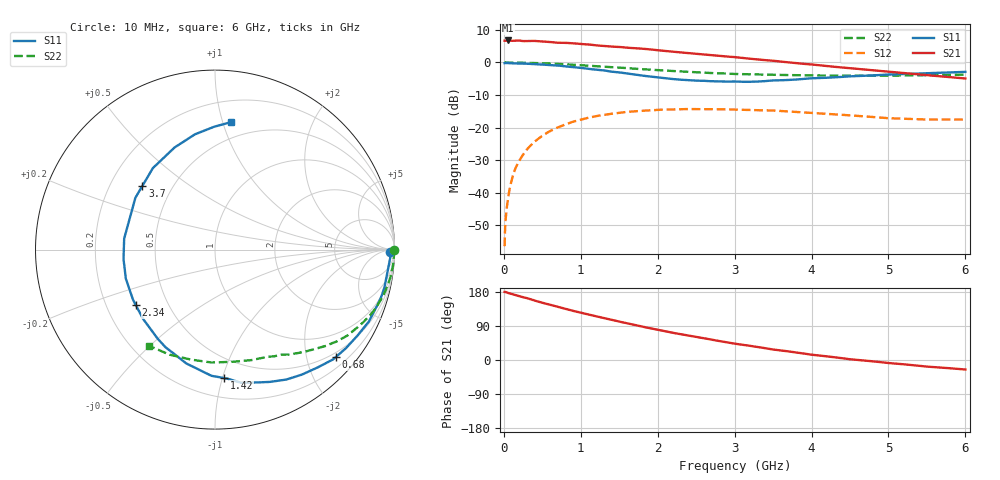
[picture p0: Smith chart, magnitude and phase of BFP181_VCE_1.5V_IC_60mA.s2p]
! Infineon Technologies  Discrete & RF Semiconductors
! BFP181
! VCE = 1.5 V,  IC =  60 mA
! Common Emitter S-Parameters:  Jan 2016
# GHz  S  MA  R  50
!  f  S11  S21  S12  S22
! GHz  MAG  ANG  MAG  ANG  MAG  ANG  MAG  ANG
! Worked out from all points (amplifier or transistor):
!   210 points, 10 MHz to 6 GHz, reference 50 ohm
!   highest |S21| = 6.8 dB at 50 MHz (marker M1)
!   |S21| within 3 dB of that: start of sweep to 1.998 GHz
!   unconditionally stable (mu >= 1): 3.541 GHz to end of sweep
!   at 185 MHz: K = 0.07, MSG = 18.8 dB, |S12| = -30.9 dB
!   at 1.52 GHz: K = 0.48, MSG = 10.1 dB, |S12| = -15.4 dB
!   at 6 GHz: K = 1.45, MAG = 2.3 dB, |S12| = -17.6 dB
!   S11 on the Smith chart (normalised r, x): 10 MHz: 60, -33; 680 MHz: 0.40, -2.57; 1.42 GHz: 0.34, -1.01; 2.34 GHz: 0.33, -0.29; 3.7 GHz: 0.34, +0.34; 6 GHz: 0.37, +1.07
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0.01  0.9748 -0.8  2.159 179.7  0.0015 87.4  0.9998 -0.2
0.015  0.9782 -1.1  2.157 179.7  0.0025 84.7  0.9998 -0.4
0.02  0.9816 -1.3  2.156 179.6  0.0035 83.6  0.9999 -0.6
0.05  0.9769 -2.8  2.178 177.2  0.0074 90.0  0.9976 -1.5
0.085  0.972 -5.2  2.156 175.2  0.0129 86.2  0.9972 -2.5
0.125  0.9683 -7.9  2.151 172.9  0.0193 83.8  0.9966 -3.7
0.24  0.9642 -15.0  2.137 166.2  0.0367 79.7  0.9911 -7.3
0.4  0.9465 -25.0  2.143 156.8  0.0606 72.7  0.9818 -11.9
0.68  0.9007 -41.7  2.019 141.6  0.0978 60.9  0.9525 -19.9
0.9  0.8481 -55.2  1.977 129.7  0.1228 52.2  0.923 -25.6
1.02  0.8197 -62.4  1.915 123.9  0.1338 47.7  0.9043 -28.6
1.42  0.7174 -86.0  1.749 105.2  0.1639 34.1  0.8448 -37.6
1.7  0.654 -104.2  1.662 92.6  0.177 26.2  0.8009 -42.9
2.02  0.5854 -124.1  1.532 79.0  0.1873 18.3  0.7602 -48.2
2.34  0.5389 -144.8  1.412 66.7  0.1915 10.5  0.7233 -53.6
2.8  0.5124 -174.1  1.26 50.0  0.1914 1.6  0.6819 -60.6
3.1  0.505 167.8  1.173 40.3  0.1872 -3.4  0.6611 -65.3
3.7  0.5383 138.7  1.003 22.7  0.1765 -11.0  0.6399 -75.4
4.1  0.5756 124.0  0.905 11.9  0.1651 -15.0  0.6302 -83.3
4.5  0.6119 111.6  0.816 2.0  0.1538 -17.9  0.6295 -91.6
5.1  0.6569 97.9  0.702 -9.6  0.1377 -17.0  0.6275 -104.6
6  0.716 82.8  0.567 -25.1  0.1325 -10.9  0.6503 -124.7
